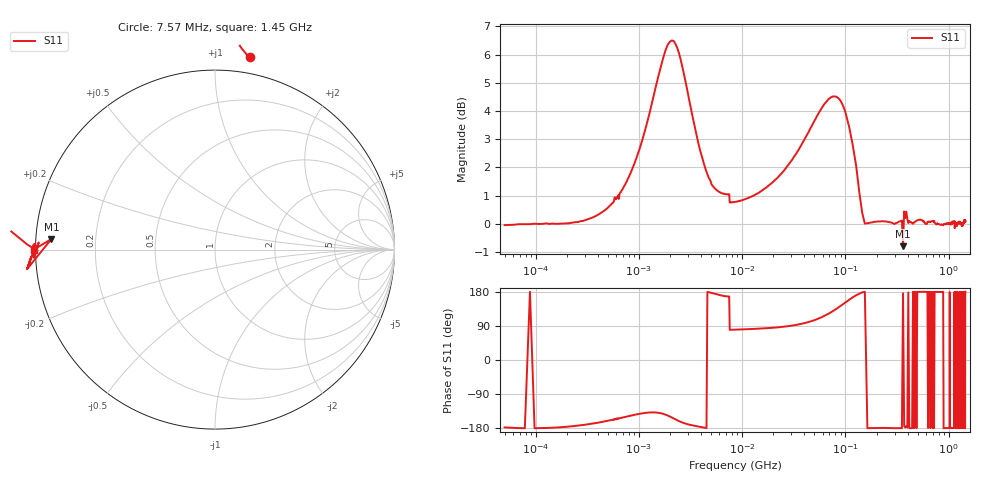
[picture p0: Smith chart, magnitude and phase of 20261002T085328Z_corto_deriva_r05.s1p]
! piloto_deriva / corto_deriva / r05
# HZ S RI R 50
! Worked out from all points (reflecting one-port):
!   501 points, 50 kHz to 1.45 GHz, reference 50 ohm
!   lowest |S11| = -0.8 dB at 361 MHz (marker M1), VSWR 21.99, Z = 2.28 + j1.62 ohm
!   phase of S11 starts at -178 deg and turns -2 deg over the sweep
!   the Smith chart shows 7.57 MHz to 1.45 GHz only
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50000  -0.9944 -0.0365
183000  -0.9999 -0.0516
363500  -1.003 -0.2244
658000  -1.014 -0.5104
1180000  -1.134 -0.9744
1630000  -1.465 -1.21
1990000  -1.803 -1.083
2170000  -1.9 -0.9171
2440000  -1.901 -0.6455
3070000  -1.634 -0.269
4330000  -1.264 -0.031
7300000  -1.103 0.2426
7750000  0.1949 1.075
8560000  0.1876 1.078
1.9e7  0.1091 1.173
3.16e7  -0.0346 1.313
4.69e7  -0.3231 1.453
6.76e7  -0.862 1.419
8.02e7  -1.158 1.22
9.46e7  -1.362 0.8766
9.82e7  -1.386 0.7853
1e8  -1.391 0.7395
1.18e8  -1.331 0.3389
1.36e8  -1.135 0.101
1.63e8  -1.003 -0.00422
3.61e8  -0.9111 0.0591
4.06e8  -1.003 0.033
1.45e9  -1.009 9.8e-05
